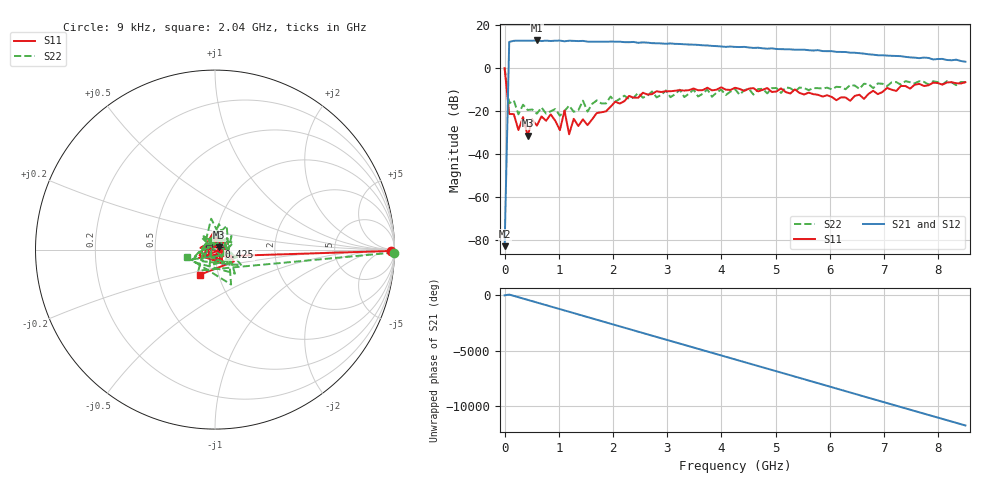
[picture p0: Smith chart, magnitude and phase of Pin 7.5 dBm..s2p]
! RsaToolbox (C) 2013 Rohde & Schwarz America
! Number of points: 101
! Number of ports: 2
! Balanced ports?: 0
# Hz S RI R 50
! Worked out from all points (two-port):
!   101 points, 9 kHz to 8.5 GHz, reference 50 ohm
!   highest |S21| = 12.74 dB at 595 MHz (marker M1); lowest = -83.1 dB at 9 kHz (marker M2)
!   |S21| within 3 dB of the highest: 82.93 MHz to 4.248 GHz (4.165 GHz wide, 192 % of centre); 4.414009 GHz to 4.421682 GHz (7.673 MHz wide, 0.174 % of centre)
!   lowest |S11| = -31.7 dB at 425 MHz (marker M3), VSWR 1.05, Z = 52.3 + j1.33 ohm
!   |S11| at or under -10 dB: 39.28 MHz to 3.444 GHz (3.405 GHz wide, 195 % of centre); 3.523 GHz to 3.685 GHz (162.1 MHz wide, 4.5 % of centre); 5.12 GHz to 7.027 GHz (1.907 GHz wide, 31.4 % of centre) (the widest 3 of 9)
!   |S22| runs from -22.3 to 0.0 dB; largest |S21 - S12| = 0
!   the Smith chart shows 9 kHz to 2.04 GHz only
!   S11 on the Smith chart (normalised r, x): 9 kHz: 91, -37; 425 MHz: 1.05, +0.03; 2.04 GHz: 0.82, -0.23
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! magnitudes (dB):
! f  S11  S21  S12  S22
! 9 kHz  -0.2  -83.1  -83.1  0.0
! 85.01 MHz  -21.5  12.1  12.1  -16.5
! 170 MHz  -21.6  12.6  12.6  -15.2
! 255 MHz  -29.0  12.6  12.6  -21.7
! 340 MHz  -22.9  12.6  12.6  -17.2
! 425 MHz  -31.7  12.7  12.7  -19.6
! 510 MHz  -24.1  12.6  12.6  -19.4
! 595 MHz  -26.9  12.7  12.7  -21.4
! 850 MHz  -21.7  12.5  12.5  -20.2
! 1.02 GHz  -29.0  12.7  12.7  -22.3
! 1.105 GHz  -19.9  12.3  12.3  -20.1
! 1.19 GHz  -30.9  12.6  12.6  -17.6
! 1.275 GHz  -23.8  12.5  12.5  -20.5
! 1.445 GHz  -24.0  12.5  12.5  -15.3
! 1.53 GHz  -26.7  12.2  12.2  -20.4
! 2.04 GHz  -15.8  12.2  12.2  -15.8
! 2.89 GHz  -11.3  11.4  11.4  -12.6
! 4.25 GHz  -9.3  9.7  9.7  -9.9
! 5.695 GHz  -12.3  8.0  8.0  -9.4
! 6.375 GHz  -15.4  7.1  7.1  -8.0
! 7.14 GHz  -10.2  5.6  5.6  -6.7
! 8.5 GHz  -6.7  2.8  2.8  -6.7
